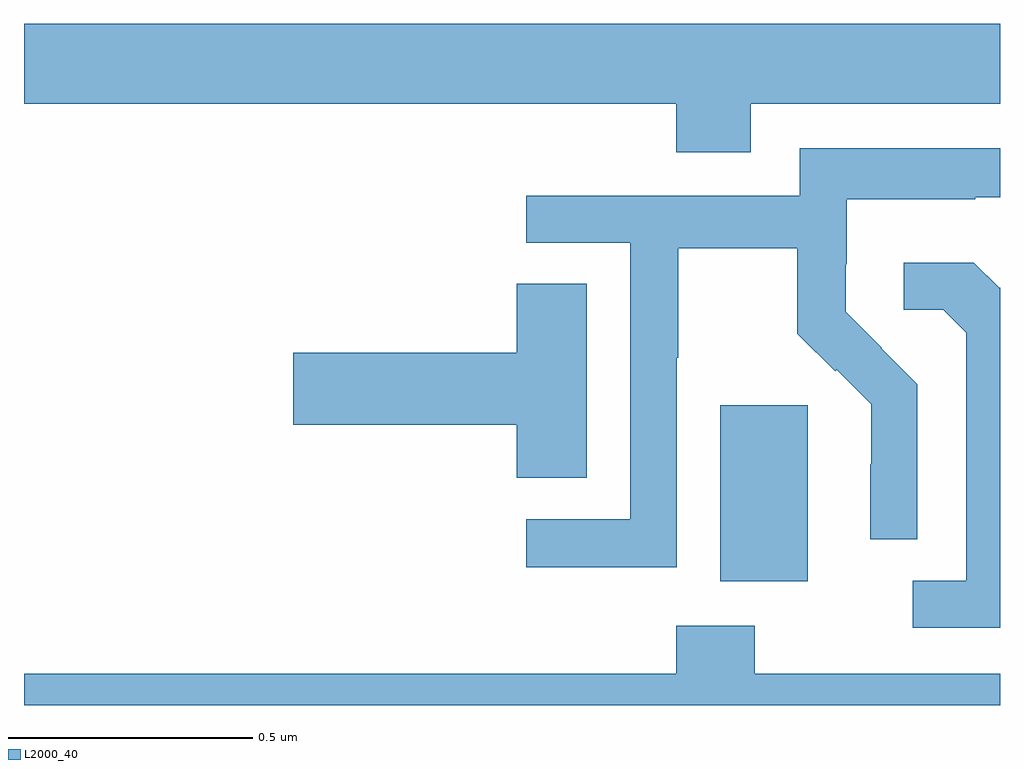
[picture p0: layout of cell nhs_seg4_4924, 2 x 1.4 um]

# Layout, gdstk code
import gdstk
lib = gdstk.Library(unit=1e-6, precision=1e-09)
def R(c, l, rs):  # rectangles x0, y0, x1, y1
    for r in rs: c.add(gdstk.rectangle(r[:2], r[2:], *l))
def P(c, l, *ps):  # polygons
    for p in ps: c.add(gdstk.Polygon(p, *l))
L2000_40 = (2000, 40)

nhs_seg4_4924 = lib.new_cell('nhs_seg4_4924')
R(nhs_seg4_4924, L2000_40, [(172.427,817.154,172.606,817.515)])
P(nhs_seg4_4924, L2000_40, [(172.489,818.132),(173,818.132),(173,818.296),(171,818.296),(171,818.132),(172.337,818.132),(172.337,818.033),(172.489,818.033)],
  [(172.338,817.612),(172.341,817.612),(172.341,817.836),(172.585,817.836),(172.585,817.661),(172.662,817.584),(172.665,817.587),(172.736,817.517),(172.736,817.394),(172.734,817.394),(172.734,817.24),(172.83,817.24),(172.83,817.558),(172.757,817.631),(172.758,817.632),(172.684,817.706),(172.684,817.803),(172.686,817.803),(172.686,817.937),(172.949,817.937),(172.949,817.941),(173,817.941),(173,818.041),(172.59,818.041),(172.59,817.944),(172.029,817.944),(172.029,817.848),(172.242,817.848),(172.242,817.281),(172.029,817.281),(172.029,817.183),(172.338,817.183)],
  [(173,817.755),(172.998,817.755),(172.946,817.807),(172.803,817.807),(172.803,817.71),(172.884,817.71),(172.931,817.663),(172.931,817.155),(172.821,817.155),(172.821,817.059),(173,817.059)],
  [(172.153,817.763),(172.01,817.763),(172.01,817.622),(171.552,817.622),(171.552,817.475),(172.01,817.475),(172.01,817.366),(172.153,817.366)],
  [(173,816.964),(172.497,816.964),(172.497,817.063),(172.337,817.063),(172.337,816.964),(171,816.964),(171,816.9),(173,816.9)])

lib.write_gds('nhs_seg4_4924.gds')
